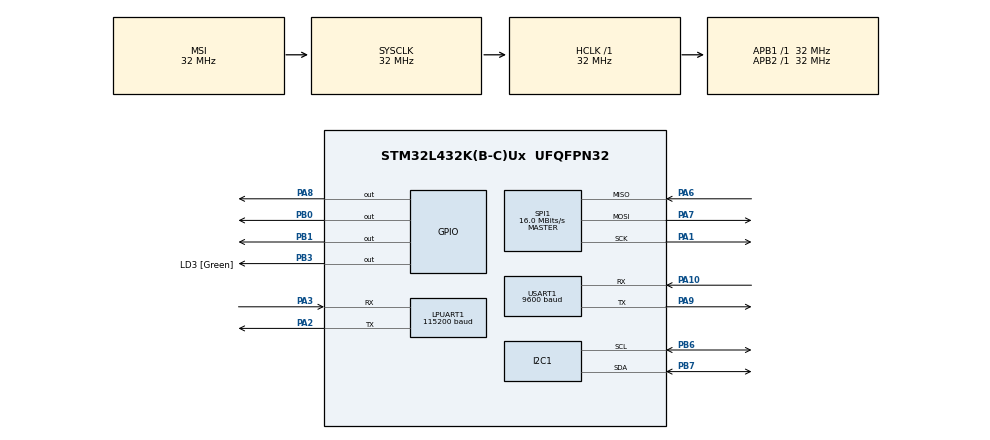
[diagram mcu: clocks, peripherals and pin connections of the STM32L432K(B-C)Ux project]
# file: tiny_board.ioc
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I2C1.Timing=0x00B07CB4
LPUART1.BaudRate=115200
LPUART1.WordLength=UART_WORDLENGTH_8B
Mcu.Family=STM32L4
Mcu.Name=STM32L432K(B-C)Ux
Mcu.Package=UFQFPN32
NVIC.PriorityGroup=NVIC_PRIORITYGROUP_4
NVIC.USART1_IRQn=true\:0\:0\:false\:false\:true\:true\:true\:true
PA1.Mode=Full_Duplex_Master
PA1.Signal=SPI1_SCK
PA10.Mode=Asynchronous
PA10.Signal=USART1_RX
PA13\ (JTMS-SWDIO).GPIO_Label=SWDIO
PA13\ (JTMS-SWDIO).Signal=SYS_JTMS-SWDIO
PA14\ (JTCK-SWCLK).GPIO_Label=SWCLK
PA14\ (JTCK-SWCLK).Signal=SYS_JTCK-SWCLK
PA2.Mode=Asynchronous
PA2.Signal=LPUART1_TX
PA3.Mode=Asynchronous
PA3.Signal=LPUART1_RX
PA6.Mode=Full_Duplex_Master
PA6.Signal=SPI1_MISO
PA7.Mode=Full_Duplex_Master
PA7.Signal=SPI1_MOSI
PA8.Signal=GPIO_Output
PA9.Mode=Asynchronous
PA9.Signal=USART1_TX
PB0.Signal=GPIO_Output
PB1.Signal=GPIO_Output
PB3\ (JTDO-TRACESWO).GPIO_Label=LD3 [Green]
PB3\ (JTDO-TRACESWO).Signal=GPIO_Output
PB6.Mode=I2C
PB6.Signal=I2C1_SCL
PB7.Mode=I2C
PB7.Signal=I2C1_SDA
PC14-OSC32_IN\ (PC14).Signal=RCC_OSC32_IN
PC15-OSC32_OUT\ (PC15).Signal=RCC_OSC32_OUT
ProjectManager.HeapSize=0x200
ProjectManager.StackSize=0x400
ProjectManager.TargetToolchain=STM32CubeIDE
RCC.ADCFreq_Value=128000000
RCC.AHBFreq_Value=32000000
RCC.APB1Freq_Value=32000000
RCC.APB1TimFreq_Value=32000000
RCC.APB2Freq_Value=32000000
RCC.APB2TimFreq_Value=32000000
RCC.CortexFreq_Value=32000000
RCC.HCLKFreq_Value=32000000
RCC.HSE_VALUE=8000000
RCC.HSI16_VALUE=16000000
RCC.HSI48_VALUE=48000000
RCC.HSI_VALUE=16000000
RCC.LSE_VALUE=32768
RCC.MSIClockRange=RCC_MSIRANGE_10
RCC.MSI_VALUE=32000000
RCC.PLLMUL=RCC_PLLMUL_4
RCC.PLLN=16
RCC.SYSCLKFreq_VALUE=32000000
RCC.USBFreq_Value=128000000
RCC.VCOOutputFreq_Value=512000000
SPI1.CalculateBaudRate=16.0 MBits/s
SPI1.DataSize=SPI_DATASIZE_8BIT
SPI1.Direction=SPI_DIRECTION_2LINES
SPI1.Mode=SPI_MODE_MASTER
SPI1.VirtualType=VM_MASTER
USART1.BaudRate=9600
USART1.VirtualMode-Asynchronous=VM_ASYNC
board=NUCLEO-L432KC

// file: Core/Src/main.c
/* USER CODE BEGIN Header */

/**

  ******************************************************************************

  * @file           : main.c

  * @brief          : Main program body

  ******************************************************************************

  * @attention

  *

  * Copyright (c) 2025 STMicroelectronics.

  * All rights reserved.

  *

  * This software is licensed under terms that can be found in the LICENSE file

  * in the root directory of this software component.

  * If no LICENSE file comes with this software, it is provided AS-IS.

  *

  ******************************************************************************

  */

/* USER CODE END Header */
#include "main.h"

/* USER CODE BEGIN Includes */

#include "stdio.h"
#include "math.h"
#include "string.h"
#include "fonts.h"
#include "st7735.h"
//#include "oled_driver.h"
#include <stdbool.h>
/* USER CODE END Includes */

I2C_HandleTypeDef hi2c1;

UART_HandleTypeDef hlpuart1;
UART_HandleTypeDef huart1;

SPI_HandleTypeDef hspi1;

/* USER CODE BEGIN PV */

uint8_t indx = 0;
uint8_t xbee_byte;
uint8_t uart_buffer[32];
uint8_t xbee_int_buf[2];
uint8_t batt_dir;
volatile uint8_t xbee_int_ready = 0;
volatile uint8_t got_16_min = 0;
volatile uint8_t new_batt = 0;
volatile uint8_t right_mov = 0b111;
volatile uint8_t left_mov = 0b111;

uint8_t batt_level = 10;
uint8_t r = 0;

enum {
    FIRST_WAIT,
	SECOND_WAIT,
    READ_PAYLOAD,
	BATT_DIR
} xbee_state = FIRST_WAIT;

// FOR LCD
uint8_t raw_frame[8][8];
bool draw_queue[8][8];

#define CELL_SIZE  8

/* USER CODE END PV */

void SystemClock_Config(void);
static void MX_GPIO_Init(void);
static void MX_LPUART1_UART_Init(void);
static void MX_USART1_UART_Init(void);
static void MX_I2C1_Init(void);
static void MX_SPI1_Init(void);

/* USER CODE BEGIN 0 */

void MX_NVIC_Init(void)
{
    HAL_NVIC_SetPriority(USART1_IRQn, 0, 0);
    HAL_NVIC_EnableIRQ(USART1_IRQn);
}

int xbee_readline(char *buf, int maxlen)
{
    int i = 0;
    uint8_t ch;
    while (i < maxlen - 1) {
        if (HAL_UART_Receive(&huart1, &ch, 1, 500) != HAL_OK) {
            break;  // timeout
        }
        buf[i++] = ch;
        if (ch == '\r' || ch == '\n') break;
    }
    buf[i] = '\0';
    return i;

}

void xbee_send(const char* cmd) {

	uint8_t resp[8];
	HAL_StatusTypeDef st;

	HAL_UART_Transmit(&huart1, (uint8_t*)cmd, strlen(cmd), 100);
	HAL_UART_Transmit(&huart1, (uint8_t*)"\r", 1, 100);
	HAL_Delay(30);

	HAL_UART_Receive(&huart1, resp, 3, 1000);
	printf("resp: %s\r", resp);

}

uint8_t xbee_enter_command(void)

{
    uint8_t resp[8];
    HAL_StatusTypeDef st;

    printf("Entering XBee command mode...\r\n");

    HAL_Delay(1000);   // guard time before
    printf("Sending +++\r\n");
    HAL_UART_Transmit(&huart1, (uint8_t*)"+++", 3, 100);
    HAL_Delay(1000);   // guard time after

    st = HAL_UART_Receive(&huart1, resp, 3, 1000);  // read 3 bytes

    printf("enter cmd resp: st=%d, bytes=%02X %02X %02X\r\n",
           st, resp[0], resp[1], resp[2]);

    if (st == HAL_OK && resp[0] == 'O' && resp[1] == 'K')
        return 1;
    else
        return 0;

}

void xbee_router_setup() {

	if(xbee_enter_command()) {
		xbee_send("ATID 2222");
		xbee_send("ATCH 17");
		xbee_send("ATMY 2");
		xbee_send("ATDL 1");
		xbee_send("ATWR");
		xbee_send("ATCN");

	}

	else {
		printf("xbee router setup failed! \r\n");
		for(int i=0; i<32; i++){
		    printf("%02X ", uart_buffer[i]);
		}

		printf("\n");
	}

}

void HAL_UART_RxCpltCallback(UART_HandleTypeDef *huart) {

    if (huart == &huart1) {
    	switch (xbee_state) {
    	case FIRST_WAIT:
    		if (xbee_byte == 0xAA) {   // 헤더 발견!
				xbee_state = SECOND_WAIT;
			}
			break;
    	case SECOND_WAIT:
    		if (xbee_byte == 0x55) {
    			indx = 0;
    			xbee_state = READ_PAYLOAD;
    		} else {
    			xbee_state = FIRST_WAIT;
    		}
    		break;
    	case READ_PAYLOAD:
			uart_buffer[indx++] = xbee_byte;

			if(indx == 32){
				xbee_state = BATT_DIR;
			}
			break;
    	case BATT_DIR:
    		batt_dir = xbee_byte;

    		xbee_int_ready = 1;
    		xbee_state = FIRST_WAIT;
    	}
    }

    // Restart reception IMMEDIATELY
    if (HAL_UART_Receive_IT(&huart1, &xbee_byte, 1) != HAL_OK) {
        printf("Failed to restart UART reception!\n");
    }

}

void HAL_UART_ErrorCallback(UART_HandleTypeDef *huart)

{
    if (huart == &huart1) {
    	HAL_UART_Receive_IT(&huart1, &xbee_byte, 1);
    }
}

// =======================================
// THIS IS FOR MULTI-COLOR DISPLAY
// =======================================

static const uint16_t heatmap_rgb[16] = {
	0x001F, // Deep Blue
	0x101F, // Blue
	0x401F, // Blue-Purple
	0x781F, // Purple
	0xF81F, // Magenta
	0xF801, // Magenta→Red
	0xF800, // Red
	0xFC00, // Orange-Red
	0xFE00, // Orange
	0xFF00, // Yellow-Orange
	0xFFE0, // Yellow
	0xFFF0, // Light Yellow
	0xFFFF, // Near White
	0xFFFF, // White
	0xFFFF, // White
	0xFFFF  // Pure White
};

void interpolate8x8_to_32x32(void)
{
    for (int y = 0; y < 32; y++) {
        float gy = ((float)y) / 4.0f;   // 32/8 = scale factor 4
        int y0 = (int)gy;
        float dy = gy - y0;
        int y1 = (y0 < 7) ? y0 + 1 : y0;

        for (int x = 0; x < 32; x++) {
            float gx = ((float)x) / 4.0f;
            int x0 = (int)gx;

            float dx = gx - x0;
            int x1 = (x0 < 7) ? x0 + 1 : x0;

            float v00 = raw_frame[y0][x0];
            float v01 = raw_frame[y0][x1];
            float v10 = raw_frame[y1][x0];
            float v11 = raw_frame[y1][x1];

            float v0 = v00 + dx * (v01 - v00);
            float v1 = v10 + dx * (v11 - v10);
            uint8_t v = (uint8_t)(v0 + dy * (v1 - v0) + 0.5f);
        }
    }
}

void interpolate8x8_to_40x40(void)
{
    for (int y = 0; y < 40; y++) {
        float gy = ((float)y) / 5.0f;   // scale factor 40/8 = 5
        int y0 = (int)gy;
        float dy = gy - y0;
        int y1 = (y0 < 7) ? y0 + 1 : y0;

        for (int x = 0; x < 40; x++) {
            float gx = ((float)x) / 5.0f;
            int x0 = (int)gx;
            float dx = gx - x0;
            int x1 = (x0 < 7) ? x0 + 1 : x0;

            float v00 = raw_frame[y0][x0];
            float v01 = raw_frame[y0][x1];
            float v10 = raw_frame[y1][x0];
            float v11 = raw_frame[y1][x1];

            float v0 = v00 + dx * (v01 - v00);
            float v1 = v10 + dx * (v11 - v10);
            uint8_t v = (uint8_t)(v0 + dy * (v1 - v0) + 0.5f);
        }
    }
}

void ST7735_DrawFullGrid(void)
{
    ST7735_SetAddrWindow(30, 0, 93, 63);

    static uint8_t buf[64 * 64 * 2];
    int ptr = 0;

    for (int i = 0; i < 4096; i++) {   // 64×64 = 4096 pixels
        int y = i >> 6;               // divide by 64
        int x = i & 63;               // modulo 64

        int gy = y >> 3;              // y / 8  (CELL_SIZE=8 → shift 3)
        int gx = x >> 3;              // x / 8

        uint8_t level = raw_frame[gy][gx];
        uint16_t color = heatmap_rgb[level];

        buf[ptr++] = color >> 8;
        buf[ptr++] = color & 0xFF;
    }

    ST7735_DC_HIGH();
    ST7735_CS_LOW();
    HAL_SPI_Transmit(&hspi1, buf, ptr, 10);
    ST7735_CS_HIGH();
}
/* USER CODE END 0 */

int main(void)
{

  /* MCU Configuration--------------------------------------------------------*/

  /* Reset of all peripherals, Initializes the Flash interface and the Systick. */
  HAL_Init();

  /* USER CODE BEGIN Init */
  memset(raw_frame, 0, sizeof(raw_frame));
  memset(draw_queue, 0, sizeof(draw_queue));

  /* USER CODE END Init */

  /* Configure the system clock */
  SystemClock_Config();

  /* USER CODE BEGIN SysInit */

  MX_NVIC_Init();

  /* USER CODE END SysInit */

  /* Initialize all configured peripherals */
  MX_GPIO_Init();
  MX_LPUART1_UART_Init();
  MX_USART1_UART_Init();
  MX_I2C1_Init();
  MX_SPI1_Init();
  /* USER CODE BEGIN 2 */

  HAL_Delay(1000);
  HAL_UART_Receive_IT(&huart1, &xbee_byte, 1);
  printf("UART1 RX IT started\r\n");

  HAL_Delay(1000);
  ST7735_Init(&hspi1);
  printf("ST7735 init done\r\n");

  HAL_Delay(1000);
	HAL_UART_Receive_IT(&huart1, &xbee_byte, 1);
	HAL_Delay(1000);

   ST7735_Init(&hspi1);

   HAL_Delay(1000);

   ST7735_SetCursor(25, 65);
   ST7735_WriteString("BATT:", Font_11x18, WHITE);
   ST7735_SetCursor(25, 115);
   ST7735_WriteString("DIR: ", Font_11x18, WHITE);

  /* USER CODE END 2 */

  /* Infinite loop */
  while (1)
  {
    /* USER CODE BEGIN 3 */

	  	 if (xbee_int_ready) {
	  		xbee_int_ready = 0;
	  		for (int i = 0; i < 32; i++) {
	  			uint8_t byte = uart_buffer[i];
	  			uint8_t val1 = (byte >> 4) & 0x0F;
	  			uint8_t val2 = byte & 0x0F;

	  			uint8_t row = i/4;
	  			uint8_t col1 = 2*(i%4);
	  			uint8_t col2 = 1+2*(i%4);
	  			if (val1 != raw_frame[row][col1]) {
	  				raw_frame[row][col1] = val1;
	  				draw_queue[row][col1] = true;
	  			} else {
	  				draw_queue[row][col1] = false;
	  			}

	  			if (val2 != raw_frame[row][col2]) {
					raw_frame[row][col2] = val2;
					draw_queue[row][col2] = true;
          } else {
            draw_queue[row][col2] = false;
          }
	  		}
	  		for (int i = 0; i < 8; i++) {
          printf("%d %d  %d %d  %d %d  %d %d\n\r", raw_frame[i][0], raw_frame[i][1], raw_frame[i][2], raw_frame[i][3], raw_frame[i][4], raw_frame[i][5], raw_frame[i][6], raw_frame[i][7]);
        }
	  		for (int i = 0; i < 8; i++) {
	  			for (int j = 0; j < 8; j++) {
	  				if (draw_queue[i][j]) {
	  					ST7735_DrawBlock(30 + i*8, j*8, 8, heatmap_rgb[raw_frame[i][j]]);
	  				}
	  			}
	  		}

			uint8_t new_batt_level = (batt_dir & 0b1110000) >> 4;
			if (new_batt_level != batt_level) {
				ST7735_DrawBlock(25, 85, 18, 0x0000);
				ST7735_DrawBlock(43, 85, 18, 0x0000);
				ST7735_DrawBlock(61, 85, 18, 0x0000);

				ST7735_SetCursor(25, 85);

				switch (new_batt_level) {
					case 0:
						ST7735_WriteChar('0', Font_11x18, WHITE);
						break;
					case 1:
						ST7735_WriteString("20", Font_11x18, WHITE);
						break;
					case 2:
						ST7735_WriteString("40", Font_11x18, WHITE);
						break;
					case 3:
						ST7735_WriteString("60", Font_11x18, WHITE);
						break;
					case 4:
						ST7735_WriteString("80", Font_11x18, WHITE);
						break;
					case 5:
						ST7735_WriteString("100", Font_11x18, WHITE);
						break;
					default:
						ST7735_WriteChar('0', Font_11x18, WHITE);
						break;
				}

				batt_level = new_batt_level;
			}
			uint8_t new_right_mov = (batt_dir & 0b1100) >> 2;
			uint8_t new_left_mov = batt_dir & 0b11;

			if (new_right_mov != right_mov || new_left_mov != left_mov) {
				ST7735_DrawBlock(70, 115, 18, 0x0000);
				ST7735_SetCursor(70, 115);
				switch(new_left_mov) {
					case 0b00:
						switch (new_right_mov) {
							case 0b00: ST7735_WriteChar('S', Font_11x18, WHITE); break;
							case 0b01: ST7735_WriteChar('L', Font_11x18, WHITE); break;
							case 0b10: ST7735_WriteChar('R', Font_11x18, WHITE); break;
							default: ST7735_WriteChar('S', Font_11x18, WHITE); break;
						}
						break;
					case 0b01:
						switch (new_right_mov) {
							case 0b00: ST7735_WriteChar('R', Font_11x18, WHITE); break;
							case 0b01: ST7735_WriteChar('F', Font_11x18, WHITE); break;
							case 0b10: ST7735_WriteChar('R', Font_11x18, WHITE); break;
							default: ST7735_WriteChar('S', Font_11x18, WHITE); break;
						}
						break;
					case 0b10:
						switch (new_right_mov) {
							case 0b00: ST7735_WriteChar('L', Font_11x18, WHITE); break;
							case 0b01: ST7735_WriteChar('L', Font_11x18, WHITE); break;
							case 0b10: ST7735_WriteChar('B', Font_11x18, WHITE); break;
							default: ST7735_WriteChar('S', Font_11x18, WHITE); break;
						}
						break;
					default:
						switch (new_right_mov) {
							case 0b00: ST7735_WriteChar('S', Font_11x18, WHITE); break;
							case 0b01: ST7735_WriteChar('L', Font_11x18, WHITE); break;
							case 0b10: ST7735_WriteChar('R', Font_11x18, WHITE); break;
							default: ST7735_WriteChar('S', Font_11x18, WHITE); break;
						}
						break;
				}
				right_mov = new_right_mov;
				left_mov = new_left_mov;
			}
	  	}
  }
  /* USER CODE END 3 */
}

void SystemClock_Config(void)
{
  RCC_OscInitTypeDef RCC_OscInitStruct = {0};
  RCC_ClkInitTypeDef RCC_ClkInitStruct = {0};

  /** Configure the main internal regulator output voltage
  */
  if (HAL_PWREx_ControlVoltageScaling(PWR_REGULATOR_VOLTAGE_SCALE1) != HAL_OK)
  {
    Error_Handler();
  }

  /** Initializes the RCC Oscillators according to the specified parameters
  * in the RCC_OscInitTypeDef structure.
  */
  RCC_OscInitStruct.OscillatorType = RCC_OSCILLATORTYPE_MSI;
  RCC_OscInitStruct.MSIState = RCC_MSI_ON;
  RCC_OscInitStruct.MSICalibrationValue = 0;
  RCC_OscInitStruct.MSIClockRange = RCC_MSIRANGE_10;
  RCC_OscInitStruct.PLL.PLLState = RCC_PLL_NONE;
  if (HAL_RCC_OscConfig(&RCC_OscInitStruct) != HAL_OK)
  {
    Error_Handler();
  }

  /** Initializes the CPU, AHB and APB buses clocks
  */
  RCC_ClkInitStruct.ClockType = RCC_CLOCKTYPE_HCLK|RCC_CLOCKTYPE_SYSCLK
                              |RCC_CLOCKTYPE_PCLK1|RCC_CLOCKTYPE_PCLK2;
  RCC_ClkInitStruct.SYSCLKSource = RCC_SYSCLKSOURCE_MSI;
  RCC_ClkInitStruct.AHBCLKDivider = RCC_SYSCLK_DIV1;
  RCC_ClkInitStruct.APB1CLKDivider = RCC_HCLK_DIV1;
  RCC_ClkInitStruct.APB2CLKDivider = RCC_HCLK_DIV1;

  if (HAL_RCC_ClockConfig(&RCC_ClkInitStruct, FLASH_LATENCY_1) != HAL_OK)
  {
    Error_Handler();
  }
}

static void MX_I2C1_Init(void)
{

  hi2c1.Instance = I2C1;
  hi2c1.Init.Timing = 0x00B07CB4;
  hi2c1.Init.OwnAddress1 = 0;
  hi2c1.Init.AddressingMode = I2C_ADDRESSINGMODE_7BIT;
  hi2c1.Init.DualAddressMode = I2C_DUALADDRESS_DISABLE;
  hi2c1.Init.OwnAddress2 = 0;
  hi2c1.Init.OwnAddress2Masks = I2C_OA2_NOMASK;
  hi2c1.Init.GeneralCallMode = I2C_GENERALCALL_DISABLE;
  hi2c1.Init.NoStretchMode = I2C_NOSTRETCH_DISABLE;
  if (HAL_I2C_Init(&hi2c1) != HAL_OK)
  {
    Error_Handler();
  }

  /** Configure Analogue filter
  */
  if (HAL_I2CEx_ConfigAnalogFilter(&hi2c1, I2C_ANALOGFILTER_ENABLE) != HAL_OK)
  {
    Error_Handler();
  }

  /** Configure Digital filter
  */
  if (HAL_I2CEx_ConfigDigitalFilter(&hi2c1, 0) != HAL_OK)
  {
    Error_Handler();
  }

}

static void MX_LPUART1_UART_Init(void)
{

  hlpuart1.Instance = LPUART1;
  hlpuart1.Init.BaudRate = 115200;
  hlpuart1.Init.WordLength = UART_WORDLENGTH_8B;
  hlpuart1.Init.StopBits = UART_STOPBITS_1;
  hlpuart1.Init.Parity = UART_PARITY_NONE;
  hlpuart1.Init.Mode = UART_MODE_TX_RX;
  hlpuart1.Init.HwFlowCtl = UART_HWCONTROL_NONE;
  hlpuart1.Init.OneBitSampling = UART_ONE_BIT_SAMPLE_DISABLE;
  hlpuart1.AdvancedInit.AdvFeatureInit = UART_ADVFEATURE_NO_INIT;
  if (HAL_UART_Init(&hlpuart1) != HAL_OK)
  {
    Error_Handler();
  }

}

static void MX_USART1_UART_Init(void)
{

  huart1.Instance = USART1;
  huart1.Init.BaudRate = 9600;
  huart1.Init.WordLength = UART_WORDLENGTH_8B;
  huart1.Init.StopBits = UART_STOPBITS_1;
  huart1.Init.Parity = UART_PARITY_NONE;
  huart1.Init.Mode = UART_MODE_TX_RX;
  huart1.Init.HwFlowCtl = UART_HWCONTROL_NONE;
  huart1.Init.OverSampling = UART_OVERSAMPLING_16;
  huart1.Init.OneBitSampling = UART_ONE_BIT_SAMPLE_DISABLE;
  huart1.AdvancedInit.AdvFeatureInit = UART_ADVFEATURE_NO_INIT;
  if (HAL_UART_Init(&huart1) != HAL_OK)
  {
    Error_Handler();
  }

}

static void MX_SPI1_Init(void)
{

  /* SPI1 parameter configuration*/
  hspi1.Instance = SPI1;
  hspi1.Init.Mode = SPI_MODE_MASTER;
  hspi1.Init.Direction = SPI_DIRECTION_2LINES;
  hspi1.Init.DataSize = SPI_DATASIZE_8BIT;
  hspi1.Init.CLKPolarity = SPI_POLARITY_LOW;
  hspi1.Init.CLKPhase = SPI_PHASE_1EDGE;
  hspi1.Init.NSS = SPI_NSS_SOFT;
  hspi1.Init.BaudRatePrescaler = SPI_BAUDRATEPRESCALER_2;
  hspi1.Init.FirstBit = SPI_FIRSTBIT_MSB;
  hspi1.Init.TIMode = SPI_TIMODE_DISABLE;
  hspi1.Init.CRCCalculation = SPI_CRCCALCULATION_DISABLE;
  hspi1.Init.CRCPolynomial = 7;
  hspi1.Init.CRCLength = SPI_CRC_LENGTH_DATASIZE;
  hspi1.Init.NSSPMode = SPI_NSS_PULSE_ENABLE;
  if (HAL_SPI_Init(&hspi1) != HAL_OK)
  {
    Error_Handler();
  }

}

static void MX_GPIO_Init(void)
{
  GPIO_InitTypeDef GPIO_InitStruct = {0};

  /* GPIO Ports Clock Enable */
  __HAL_RCC_GPIOC_CLK_ENABLE();
  __HAL_RCC_GPIOA_CLK_ENABLE();
  __HAL_RCC_GPIOB_CLK_ENABLE();

  /*Configure GPIO pin Output Level */
  HAL_GPIO_WritePin(GPIOB, GPIO_PIN_0|GPIO_PIN_1|LD3_Pin, GPIO_PIN_RESET);

  /*Configure GPIO pin Output Level */
  HAL_GPIO_WritePin(GPIOA, GPIO_PIN_8, GPIO_PIN_RESET);

  /*Configure GPIO pins : PB0 PB1 LD3_Pin */
  GPIO_InitStruct.Pin = GPIO_PIN_0|GPIO_PIN_1|LD3_Pin;
  GPIO_InitStruct.Mode = GPIO_MODE_OUTPUT_PP;
  GPIO_InitStruct.Pull = GPIO_NOPULL;
  GPIO_InitStruct.Speed = GPIO_SPEED_FREQ_LOW;
  HAL_GPIO_Init(GPIOB, &GPIO_InitStruct);

  /*Configure GPIO pin : PA8 */
  GPIO_InitStruct.Pin = GPIO_PIN_8;
  GPIO_InitStruct.Mode = GPIO_MODE_OUTPUT_PP;
  GPIO_InitStruct.Pull = GPIO_NOPULL;
  GPIO_InitStruct.Speed = GPIO_SPEED_FREQ_LOW;
  HAL_GPIO_Init(GPIOA, &GPIO_InitStruct);

}

/* USER CODE BEGIN 4 */

#ifdef __GNUC__
#define PUTCHAR_PROTOTYPE int __io_putchar(int ch)
#else
  #define PUTCHAR_PROTOTYPE int fputc(int ch, FILE *f)
#endif /* __GNUC__ */
PUTCHAR_PROTOTYPE
{
  HAL_UART_Transmit(&hlpuart1, (uint8_t *)&ch, 1, 0xFFFF);
  return ch;
}

/* USER CODE END 4 */

void Error_Handler(void)
{
  __disable_irq();
  while (1)
  {
  }
}
